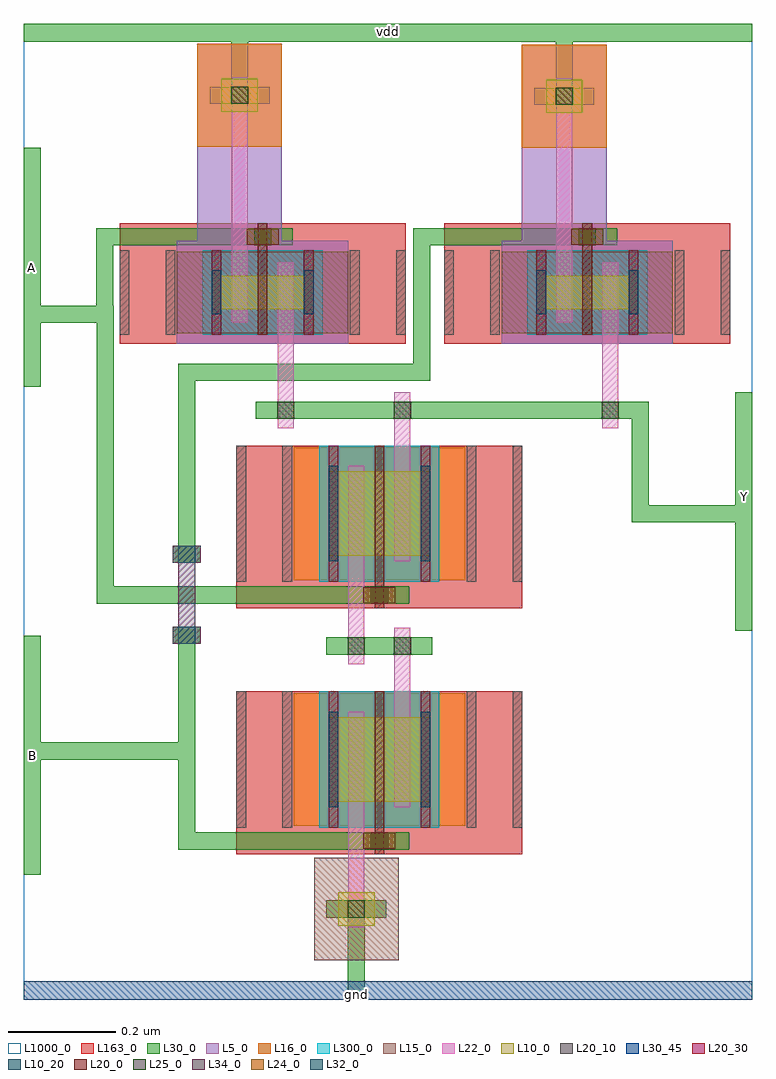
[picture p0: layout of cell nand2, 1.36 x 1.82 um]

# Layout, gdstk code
from math import pi, radians
import gdstk
lib = gdstk.Library(unit=1e-6, precision=5e-10)
def R(c, l, rs):  # rectangles x0, y0, x1, y1
    for r in rs: c.add(gdstk.rectangle(r[:2], r[2:], *l))
L5_0 = (5, 0)
L10_0 = (10, 0)
L10_20 = (10, 20)
L15_0 = (15, 0)
L16_0 = (16, 0)
L20_0 = (20, 0)
L20_10 = (20, 10)
L20_30 = (20, 30)
L22_0 = (22, 0)
L24_0 = (24, 0)
L25_0 = (25, 0)
L30_0 = (30, 0)
L30_45 = (30, 45)
L32_0 = (32, 0)
L34_0 = (34, 0)
L163_0 = (163, 0)
L300_0 = (300, 0)
L1000_0 = (1000, 0)

n1svt_cdns_5 = lib.new_cell('n1svt_CDNS_5')
R(n1svt_cdns_5, L10_0, [(-0.086,0,0,0.158), (0,0,0.018,0.158), (0.018,0,0.104,0.158)])
R(n1svt_cdns_5, L10_20, [(-0.086,-0.01,-0.068,0.168), (0.086,-0.01,0.104,0.168)])
R(n1svt_cdns_5, L16_0, [(-0.151,-0.045,0.169,0.203)])
R(n1svt_cdns_5, L20_0, [(0,-0.098,0.018,-0.048), (0,-0.048,0.018,0), (0,0,0.018,0.158), (0,0.158,0.018,0.206)])
R(n1svt_cdns_5, L20_10, [(-0.258,-0.048,-0.24,0.206), (-0.172,-0.048,-0.154,0.206), (0.172,-0.048,0.19,0.206), (0.258,-0.048,0.276,0.206)])
R(n1svt_cdns_5, L20_30, [(-0.086,-0.048,-0.068,0.206), (0.086,-0.048,0.104,0.206)])
R(n1svt_cdns_5, L22_0, [(-0.049,-0.01,-0.019,0.168), (0.037,-0.01,0.067,0.168)])
R(n1svt_cdns_5, L24_0, [(-0.021,-0.088,0.039,-0.058)])
R(n1svt_cdns_5, L25_0, [(-0.007,-0.089,0.025,-0.057)])
R(n1svt_cdns_5, L30_0, [(-0.047,-0.089,0.065,-0.057)])
R(n1svt_cdns_5, L163_0, [(-0.258,-0.098,0.276,0.206)])
R(n1svt_cdns_5, L300_0, [(-0.103,-0.048,0.121,0.206)])
n1svt_cdns_5.add(gdstk.Label('0.158/0.018', (0.009,0.0365), layer=63, texttype=0))
n1svt_cdns_5.add(gdstk.Label('[@instanceName]', (0.009,0.066), layer=63, texttype=0))

p1svt_cdns_6 = lib.new_cell('p1svt_CDNS_6')
R(p1svt_cdns_6, L5_0, [(-0.151,-0.065,0.169,0.127)])
R(p1svt_cdns_6, L10_0, [(-0.086,0,0,0.062), (0,0,0.018,0.062), (0.018,0,0.104,0.062)])
R(p1svt_cdns_6, L10_20, [(-0.086,-0.01,-0.068,0.072), (0.086,-0.01,0.104,0.072)])
R(p1svt_cdns_6, L15_0, [(-0.151,-0.045,0.169,0.107)])
R(p1svt_cdns_6, L20_0, [(0,-0.048,0.018,0), (0,0,0.018,0.062), (0,0.062,0.018,0.11), (0,0.11,0.018,0.16)])
R(p1svt_cdns_6, L20_10, [(-0.258,-0.048,-0.24,0.11), (-0.172,-0.048,-0.154,0.11), (0.172,-0.048,0.19,0.11), (0.258,-0.048,0.276,0.11)])
R(p1svt_cdns_6, L20_30, [(-0.086,-0.048,-0.068,0.11), (0.086,-0.048,0.104,0.11)])
R(p1svt_cdns_6, L22_0, [(-0.049,-0.025,-0.019,0.087), (0.037,-0.025,0.067,0.087)])
R(p1svt_cdns_6, L24_0, [(-0.021,0.12,0.039,0.15)])
R(p1svt_cdns_6, L25_0, [(-0.007,0.119,0.025,0.151)])
R(p1svt_cdns_6, L30_0, [(-0.047,0.119,0.065,0.151)])
R(p1svt_cdns_6, L163_0, [(-0.258,-0.065,0.276,0.16)])
R(p1svt_cdns_6, L300_0, [(-0.103,-0.048,0.121,0.11)])
p1svt_cdns_6.add(gdstk.Label('0.062/0.018', (0.009,0.0365), layer=63, texttype=0))
p1svt_cdns_6.add(gdstk.Label('[@instanceName]', (0.009,0.066), layer=63, texttype=0))

m2_m1_cdns_1 = lib.new_cell('M2_M1_CDNS_1')
R(m2_m1_cdns_1, L30_0, [(-0.026,-0.016,0.026,0.016)])
R(m2_m1_cdns_1, L32_0, [(-0.016,-0.016,0.016,0.016)])
R(m2_m1_cdns_1, L34_0, [(-0.026,-0.016,0.026,0.016)])

m1_liact_cdns_2 = lib.new_cell('M1_LiAct_CDNS_2')
R(m1_liact_cdns_2, L22_0, [(-0.015,-0.034,0.015,0.034)])
R(m1_liact_cdns_2, L25_0, [(-0.016,-0.016,0.016,0.016)])
R(m1_liact_cdns_2, L30_0, [(-0.056,-0.016,0.056,0.016)])

nwelltap_cdns_3 = lib.new_cell('nwellTap_CDNS_3')
R(nwelltap_cdns_3, L5_0, [(-0.079,-0.096,0.079,0.096)])
R(nwelltap_cdns_3, L10_0, [(-0.034,-0.031,0.034,0.031)])
R(nwelltap_cdns_3, L16_0, [(-0.079,-0.096,0.079,0.096)])
R(nwelltap_cdns_3, L22_0, [(-0.015,-0.034,0.015,0.034)])
R(nwelltap_cdns_3, L25_0, [(-0.016,-0.016,0.016,0.016)])
R(nwelltap_cdns_3, L30_0, [(-0.056,-0.016,0.056,0.016)])

subtap_cdns_4 = lib.new_cell('subTap_CDNS_4')
R(subtap_cdns_4, L10_0, [(-0.034,-0.031,0.034,0.031)])
R(subtap_cdns_4, L15_0, [(-0.079,-0.096,0.079,0.096)])
R(subtap_cdns_4, L22_0, [(-0.015,-0.034,0.015,0.034)])
R(subtap_cdns_4, L25_0, [(-0.016,-0.016,0.016,0.016)])
R(subtap_cdns_4, L30_0, [(-0.056,-0.016,0.056,0.016)])

nand2 = lib.new_cell('nand2')
R(nand2, L5_0, [(0.324,1.402,0.482,1.592), (0.93,1.403,1.088,1.59)])
R(nand2, L30_0, [(0,0.233,0.032,0.679), (1.328,0.688,1.36,1.134), (0,1.144,0.032,1.59), (0,1.788,1.36,1.822)])
R(nand2, L30_45, [(0,0,1.36,0.034)])
R(nand2, L1000_0, [(0,0,1.36,1.822)])
nand2.add(gdstk.FlexPath([(0.403,1.264),(0.403,1.688)], 0.03, ends="flush", simple_path=True, layer=22, datatype=0))  # L22_0
nand2.add(gdstk.FlexPath([(0.489,1.264),(0.489,1.1)], 0.03, ends="flush", simple_path=True, layer=22, datatype=0))  # L22_0
nand2.add(gdstk.FlexPath([(0.621,0.818),(0.621,0.644)], 0.03, ends="flush", simple_path=True, layer=22, datatype=0))  # L22_0
nand2.add(gdstk.FlexPath([(0.621,0.359),(0.621,0.16)], 0.03, ends="flush", simple_path=True, layer=22, datatype=0))  # L22_0
nand2.add(gdstk.FlexPath([(1.095,1.264),(1.095,1.1)], 0.03, ends="flush", simple_path=True, layer=22, datatype=0))  # L22_0
nand2.add(gdstk.FlexPath([(0.707,0.996),(0.707,1.1)], 0.03, ends="flush", simple_path=True, layer=22, datatype=0))  # L22_0
nand2.add(gdstk.FlexPath([(1.009,1.264),(1.009,1.686)], 0.03, ends="flush", simple_path=True, layer=22, datatype=0))  # L22_0
nand2.add(gdstk.FlexPath([(0.707,0.537),(0.707,0.674)], 0.03, ends="flush", simple_path=True, layer=22, datatype=0))  # L22_0
nand2.add(gdstk.FlexPath([(0.621,0.169),(0.621,0)], 0.032, ends="flush", simple_path=True, layer=30, datatype=0))  # L30_0
nand2.add(gdstk.FlexPath([(1.151,1.1),(0.489,1.1)], 0.032, ends=(0.016, 0), simple_path=True, layer=30, datatype=0))  # L30_0
nand2.add(gdstk.FlexPath([(1.009,1.686),(1.009,1.822)], 0.032, ends="flush", simple_path=True, layer=30, datatype=0))  # L30_0
nand2.add(gdstk.FlexPath([(1.151,0.907),(1.36,0.907)], 0.032, ends=(0.016, 0), simple_path=True, layer=30, datatype=0))  # L30_0
nand2.add(gdstk.FlexPath([(0.403,1.688),(0.403,1.822)], 0.032, ends="flush", simple_path=True, layer=30, datatype=0))  # L30_0
nand2.add(gdstk.FlexPath([(0.304,0.464),(0,0.464)], 0.032, ends=(0.016, 0), simple_path=True, layer=30, datatype=0))  # L30_0
nand2.add(gdstk.FlexPath([(0.743,1.424),(1.052,1.424)], 0.032, ends=(0.016, 0), simple_path=True, layer=30, datatype=0))  # L30_0
nand2.add(gdstk.FlexPath([(0.743,1.171),(0.743,1.424)], 0.032, ends="extended", simple_path=True, layer=30, datatype=0))  # L30_0
nand2.add(gdstk.FlexPath([(0.304,1.171),(0.743,1.171)], 0.032, ends="extended", simple_path=True, layer=30, datatype=0))  # L30_0
nand2.add(gdstk.FlexPath([(0.304,0.296),(0.304,0.464)], 0.032, ends="extended", simple_path=True, layer=30, datatype=0))  # L30_0
nand2.add(gdstk.FlexPath([(0.608,0.755),(0.152,0.755)], 0.032, ends=(0, 0.016), simple_path=True, layer=30, datatype=0))  # L30_0
nand2.add(gdstk.FlexPath([(0.152,0.755),(0.152,1.279)], 0.032, ends="extended", simple_path=True, layer=30, datatype=0))  # L30_0
nand2.add(gdstk.FlexPath([(0.608,0.296),(0.304,0.296)], 0.032, ends=(0, 0.016), simple_path=True, layer=30, datatype=0))  # L30_0
nand2.add(gdstk.FlexPath([(1.151,1.1),(1.151,0.907)], 0.032, ends="extended", simple_path=True, layer=30, datatype=0))  # L30_0
nand2.add(gdstk.FlexPath([(0.304,0.831),(0.304,1.171)], 0.032, ends=(0, 0.016), simple_path=True, layer=30, datatype=0))  # L30_0
nand2.add(gdstk.FlexPath([(0.304,0.464),(0.304,0.68)], 0.032, ends=(0.016, 0), simple_path=True, layer=30, datatype=0))  # L30_0
nand2.add(gdstk.FlexPath([(0.152,1.279),(0,1.279)], 0.032, ends=(0.016, 0), simple_path=True, layer=30, datatype=0))  # L30_0
nand2.add(gdstk.FlexPath([(0.151,1.424),(0.151,1.279)], 0.032, ends="extended", simple_path=True, layer=30, datatype=0))  # L30_0
nand2.add(gdstk.FlexPath([(0.39,1.424),(0.151,1.424)], 0.032, ends=(0, 0.016), simple_path=True, layer=30, datatype=0))  # L30_0
nand2.add(gdstk.FlexPath([(0.304,0.68),(0.304,0.831)], 0.032, ends="flush", simple_path=True, layer=34, datatype=0))  # L34_0
nand2.add(gdstk.Reference(n1svt_cdns_5, (0.655,0.369)))
nand2.add(gdstk.Reference(n1svt_cdns_5, (0.655,0.828)))
nand2.add(gdstk.Reference(p1svt_cdns_6, (1.043,1.289)))
nand2.add(gdstk.Reference(p1svt_cdns_6, (0.437,1.289)))
nand2.add(gdstk.Reference(m2_m1_cdns_1, (0.304,0.831), rotation=pi))
nand2.add(gdstk.Reference(m2_m1_cdns_1, (0.304,0.68), rotation=pi))
nand2.add(gdstk.Reference(m1_liact_cdns_2, (1.095,1.1)))
nand2.add(gdstk.Reference(m1_liact_cdns_2, (0.707,1.1)))
nand2.add(gdstk.Reference(m1_liact_cdns_2, (0.707,0.66)))
nand2.add(gdstk.Reference(m1_liact_cdns_2, (0.403,1.688)))
nand2.add(gdstk.Reference(m1_liact_cdns_2, (0.489,1.1)))
nand2.add(gdstk.Reference(m1_liact_cdns_2, (1.009,1.686)))
nand2.add(gdstk.Reference(m1_liact_cdns_2, (0.621,0.66)))
nand2.add(gdstk.Reference(nwelltap_cdns_3, (1.009,1.686)))
nand2.add(gdstk.Reference(nwelltap_cdns_3, (0.403,1.688)))
nand2.add(gdstk.Reference(subtap_cdns_4, (0.621,0.169)))
nand2.add(gdstk.Label('B', (0.016,0.456), layer=30, texttype=0))
nand2.add(gdstk.Label('Y', (1.346,0.939), layer=30, texttype=0))
nand2.add(gdstk.Label('gnd', (0.621,0.01), layer=30, texttype=0))
nand2.add(gdstk.Label('vdd', (0.68,1.807), layer=30, texttype=0))
nand2.add(gdstk.Label('A', (0.015,1.367), layer=30, texttype=0))

lib.write_gds('nand2.gds')
